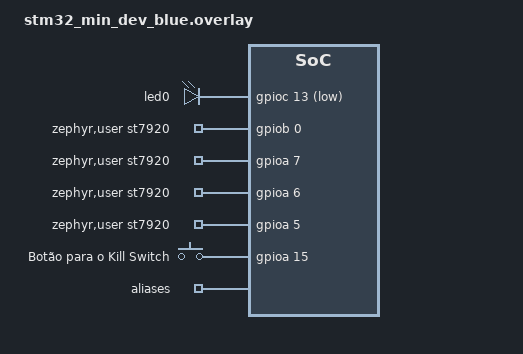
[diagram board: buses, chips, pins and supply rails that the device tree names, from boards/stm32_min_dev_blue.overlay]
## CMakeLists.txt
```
cmake_minimum_required(VERSION 3.22)

set(BOARD stm32_min_dev)

find_package(Zephyr REQUIRED HINTS $ENV{ZEPHYR_BASE})
project(palca-painel)

FILE(GLOB app_sources src/*.c)
target_sources(app PRIVATE ${app_sources})

target_include_directories(app PRIVATE inc)
```

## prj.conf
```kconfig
# Comunicação

## UART
CONFIG_SERIAL=y # Receber dados do GPS e enviar pro GPRS
CONFIG_UART_ASYNC_API=n # Receber dados de forma assícrona usando Direct Memory Access (DMA)

## CAN
CONFIG_CAN=y
CONFIG_CAN_DEFAULT_BITRATE=125000

# GPIO
CONFIG_GPIO=y # Ativar o controle dos pinos input e output

# Logging
CONFIG_LOG=y # Log de debug (UART 1)

# 3: info, 0: nada
CONFIG_LOG_DEFAULT_LEVEL=3 
```

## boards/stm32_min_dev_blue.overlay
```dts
/ {
    leds {
        compatible = "gpio-leds";
        led0: led {
            gpios = <&gpioc 13 GPIO_ACTIVE_LOW>;
        };
    };
    zephyr,user {
        st7920_gpios = <&gpiob 0 GPIO_ACTIVE_HIGH>, // Não pode mudar
                <&gpioa 7 GPIO_ACTIVE_HIGH>, // Não pode mudar
                <&gpioa 6 GPIO_ACTIVE_HIGH>, // Não pode mudar
                <&gpioa 5 GPIO_ACTIVE_HIGH>; // Não pode mudar

    };

     buttons {
             compatible = "gpio-keys";
             kill: button_0 {
                     gpios = < &gpioa 15 GPIO_ACTIVE_HIGH >;
                     label = "Botão para o Kill Switch";
             };

    aliases {
      mycan = &can1;
      botaokill = &kill
    };
};

&can1 {
    status = "okay";
    pinctrl-0 = <&can_rx_remap1_pb8 &can_tx_remap1_pb9>;
    pinctrl-names= "default";
};
```

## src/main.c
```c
// Esse programa de expemplo printa "Hello World!" no LOG no momento em que o
// led pisca

#include "ST7920.h"
#include "numbers.h"
#include "zephyr/logging/log.h"
#include <bitmap.h>
#include <can.h>
#include <globals.h>
#include <zephyr/kernel.h>

static const struct gpio_dt_spec kill_botao =
    GPIO_DT_SPEC_GET_OR(botaokill, gpios, {0});

// Porcentagem Bateria
float bateria = 20;

// Porcentagem Combustível
float combustivel = 40;

// Porcentagem Pneu Dianteiro Direito
float pneu_dd = 50;

// Porcentagem Pneu Dianteiro Esquerdo
float pneu_de = 100;

// Porcentagem Pneu Traseiro Direito
float pneu_td = 50;

// Porcentagem Pneu Traseiro Esquerdo
float pneu_te = 100;

// Porcentagem sinal
float sinal = 70;

// Velocidade em m/s
int velocidade = 10;

LOG_MODULE_REGISTER();

void draw_main();
void draw_main_devagar();
void draw_velocidade(uint8_t velocidade);

int main() {
  // Inicializações
  ST7920_Init();

  // Mostrar logo
  ST7920_GraphicMode(1);
  ST7920_DrawBitmap((const unsigned char *)jupiter_logo);
  ST7920_GraphicMode(0);
  k_msleep(1000);

  draw_main();

  bool kill = 0;

  while (true) {
    k_msleep(700);
    velocidade += 1;
    draw_main();

    int val = gpio_pin_get_dt(&kill_botao);
    if (val >= 0) {
      kill = true;
    }

    send_kill_switch(0, kill);

  }
}

void draw_main() {
  ST7920_GraphicMode(1);
  ST7920_DrawBitmap((const unsigned char *)interface);

  // Desenhar Bateria
  int altura_bateria = (bateria * 57) / 100;
  DrawFilledRectangle(2, 3 + (57 - altura_bateria), 12, altura_bateria);

  // Desenhar Combustível
  int altura_combustivel = (combustivel * 57) / 100;
  DrawFilledRectangle(19, 3 + (57 - altura_combustivel), 12,
                      altura_combustivel);

  // Desenhar rodas
  int altura_de = (pneu_de * 6) / 100;
  DrawFilledRectangle(101, 7 + (6 - altura_de), 1, altura_de);

  int altura_dd = (pneu_dd * 6) / 100;
  DrawFilledRectangle(121, 7 + (6 - altura_dd), 1, altura_dd);

  int altura_te = (pneu_te * 6) / 100;
  DrawFilledRectangle(101, 31 + (6 - altura_te), 1, altura_te);

  int altura_td = (pneu_td * 6) / 100;
  DrawFilledRectangle(121, 31 + (6 - altura_td), 1, altura_td);

  // Desenhar Sinal
  if (sinal > 33) {
    DrawFilledRectangle(102, 50, 2, 8);
  }
  if (sinal > 66) {
    DrawFilledRectangle(108, 46, 2, 12);
  }
  if (sinal > 90) {
    DrawFilledRectangle(114, 42, 2, 16);
  }

  draw_velocidade(velocidade);
  ST7920_Update();
}

// Desenha a velocideade (Precisa dar Update!!)
void draw_velocidade(uint8_t velocidade) {

  int unidade = velocidade % 10;
  int dezena = (velocidade % 100) / 10;

  switch (unidade) {
  case 0:
    numero_0(65);
    break;
  case 1:
    numero_1(65);
    break;
  case 2:
    numero_2(65);
    break;
  case 3:
    numero_3(65);
    break;
  case 4:
    numero_4(65);
    break;
  case 5:
    numero_5(65);
    break;
  case 6:
    numero_6(65);
    break;
  case 7:
    numero_7(65);
    break;
  case 8:
    numero_8(65);
    break;
  case 9:
    numero_9(65);
    break;

  default:
    ST7920_Clear();
    break;
  }

  switch (dezena) {
  case 0:
    numero_0(35);
    break;
  case 1:
    numero_1(35);
    break;
  case 2:
    numero_2(35);
    break;
  case 3:
    numero_3(35);
    break;
  case 4:
    numero_4(35);
    break;
  case 5:
    numero_5(35);
    break;
  case 6:
    numero_6(35);
    break;
  case 7:
    numero_7(35);
    break;
  case 8:
    numero_8(35);
    break;
  case 9:
    numero_9(35);
    break;
  default:
    ST7920_Clear();
    break;
  }
}
```

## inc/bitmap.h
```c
#ifndef BITMAP_H_
#define BITMAP_H_

volatile const unsigned char jupiter_logo[] = {
    // 'Ouroboros bitmap', 128x64px
    0x00, 0x00, 0x00, 0x00, 0x00, 0x00, 0x00, 0x00, 0x00, 0x00, 0x00, 0x00,
    0x00, 0x00, 0x00, 0x00, 0x00, 0x00, 0x00, 0x00, 0x00, 0x00, 0x00, 0x00,
    0x00, 0x00, 0x00, 0x00, 0x00, 0x00, 0x00, 0x00, 0x00, 0x00, 0x00, 0x00,
    0x00, 0x00, 0x00, 0x00, 0x00, 0x00, 0x00, 0x00, 0x00, 0x00, 0x00, 0x00,
    0x00, 0x00, 0x00, 0x00, 0x00, 0x00, 0x00, 0x00, 0x00, 0x00, 0x00, 0x00,
    0x00, 0x00, 0x00, 0x00, 0x00, 0x00, 0x00, 0x00, 0x00, 0x00, 0x00, 0x00,
    0x00, 0x00, 0x00, 0x00, 0x00, 0x00, 0x00, 0x00, 0x00, 0x00, 0x00, 0x00,
    0x00, 0x00, 0x00, 0x00, 0x00, 0x00, 0x00, 0x00, 0x00, 0x00, 0x00, 0x00,
    0x00, 0x00, 0x00, 0x00, 0x00, 0x00, 0x00, 0x00, 0x00, 0x00, 0x00, 0x00,
    0x00, 0x00, 0x00, 0x00, 0x00, 0x00, 0x00, 0x00, 0x00, 0x00, 0x00, 0x00,
    0x00, 0x00, 0x00, 0x00, 0x00, 0x00, 0x00, 0x00, 0x00, 0x00, 0x00, 0x00,
    0x00, 0x00, 0x00, 0x00, 0x00, 0x00, 0x00, 0x00, 0x00, 0x00, 0x00, 0x00,
    0x00, 0x00, 0x00, 0x00, 0x00, 0x00, 0x00, 0x00, 0x00, 0x00, 0x00, 0x00,
    0x00, 0x00, 0x00, 0x00, 0x00, 0x00, 0x00, 0x00, 0x00, 0x00, 0x06, 0x30,
    0x00, 0x00, 0x00, 0x00, 0x00, 0x00, 0x00, 0x00, 0x00, 0x00, 0x00, 0x00,
    0x00, 0x00, 0x02, 0x3c, 0x00, 0x78, 0x00, 0x00, 0x00, 0x00, 0x00, 0x00,
    0x00, 0x00, 0x00, 0x00, 0x00, 0x00, 0x02, 0x36, 0xff, 0xff, 0x80, 0x00,
    0x00, 0x00, 0x00, 0x00, 0x00, 0x00, 0x00, 0x00, 0x00, 0x00, 0x02, 0x23,
    0xff, 0xff, 0x00, 0x00, 0x00, 0x00, 0x00, 0x00, 0x00, 0x00, 0x00, 0x00,
    0x00, 0x30, 0x03, 0x63, 0xff, 0xf8, 0x00, 0x00, 0x00, 0x00, 0x00, 0x00,
    0x00, 0x00, 0x00, 0x00, 0x00, 0x7f, 0x03, 0x63, 0xff, 0xf1, 0x80, 0x00,
    0x00, 0x00, 0x00, 0x00, 0x00, 0x00, 0x00, 0x00, 0x00, 0x7f, 0xe3, 0xe3,
    0x17, 0xed, 0xc0, 0x00, 0x00, 0x00, 0x00, 0x00, 0x00, 0x00, 0x00, 0x00,
    0x00, 0x61, 0xe1, 0xe3, 0xf0, 0xdd, 0xd0, 0x00, 0x00, 0x00, 0x00, 0x00,
    0x00, 0x00, 0x00, 0x00, 0x00, 0x60, 0x60, 0x03, 0xff, 0x1d, 0xd8, 0x00,
    0x00, 0x00, 0x00, 0x00, 0x00, 0x00, 0x00, 0x00, 0x00, 0x60, 0x63, 0x00,
    0xff, 0xcf, 0xbc, 0x00, 0x00, 0x00, 0x00, 0x00, 0x00, 0x00, 0x00, 0x00,
    0x00, 0x70, 0x63, 0xfc, 0xff, 0xf7, 0x7e, 0x00, 0x00, 0x00, 0x00, 0x00,
    0x00, 0x00, 0x00, 0x00, 0x00, 0x7f, 0x62, 0xfe, 0xff, 0xf8, 0xfe, 0x00,
    0x00, 0x00, 0x00, 0x00, 0x00, 0x00, 0x00, 0x00, 0x00, 0x3f, 0xe3, 0x07,
    0xf7, 0xff, 0xfe, 0x00, 0x00, 0x00, 0x00, 0x00, 0x00, 0x00, 0x00, 0x00,
    0x00, 0x01, 0xe3, 0x07, 0xff, 0xff, 0xfe, 0x00, 0x00, 0x00, 0x00, 0x00,
    0x00, 0x00, 0x00, 0x00, 0x00, 0x78, 0x03, 0x07, 0xff, 0xff, 0xfe, 0x00,
    0x00, 0x00, 0x00, 0x00, 0x00, 0x00, 0x00, 0x00, 0x00, 0x7f, 0xc3, 0x87,
    0x1f, 0xff, 0xfe, 0x00, 0x00, 0x00, 0x00, 0x00, 0x00, 0x00, 0x00, 0x00,
    0x00, 0x7f, 0xe3, 0xff, 0x06, 0xff, 0xfc, 0x00, 0x00, 0x00, 0x00, 0x00,
    0x00, 0x00, 0x00, 0x00, 0x00, 0x63, 0xe0, 0xff, 0x00, 0xfd, 0xf0, 0x00,
    0x00, 0x00, 0x00, 0x00, 0x00, 0x00, 0x00, 0x00, 0x00, 0x62, 0x00, 0x06,
    0x00, 0xf9, 0xe0, 0x00, 0x00, 0x00, 0x00, 0x00, 0x00, 0x00, 0x00, 0x00,
    0x00, 0x62, 0x03, 0xc0, 0x00, 0xf8, 0x00, 0x00, 0x00, 0x00, 0x00, 0x00,
    0x00, 0x00, 0x00, 0x00, 0x00, 0x6e, 0x07, 0xfe, 0x00, 0xf8, 0x00, 0x00,
    0x00, 0x00, 0x00, 0x00, 0x00, 0x00, 0x00, 0x00, 0x00, 0x6f, 0xc3, 0x7f,
    0x00, 0xf8, 0x00, 0x00, 0x00, 0x00, 0x00, 0x00, 0x00, 0x00, 0x00, 0x00,
    0x00, 0x0f, 0xe7, 0x32, 0x00, 0xf8, 0x00, 0x00, 0x00, 0x00, 0x00, 0x00,
    0x00, 0x00, 0x00, 0x00, 0x00, 0x40, 0x63, 0x30, 0x00, 0xf0, 0x00, 0x00,
    0x00, 0x00, 0x00, 0x00, 0x00, 0x00, 0x00, 0x00, 0x00, 0x7c, 0x03, 0x30,
    0x00, 0xf0, 0x00, 0x00, 0x00, 0x00, 0x00, 0x00, 0x00, 0x00, 0x00, 0x00,
    0x00, 0x7f, 0xc3, 0xf0, 0x00, 0xd0, 0x40, 0x00, 0x00, 0x00, 0x00, 0x00,
    0x00, 0x00, 0x00, 0x00, 0x00, 0x0f, 0xe3, 0xfe, 0x00, 0xe0, 0xc0, 0x00,
    0x00, 0x00, 0x00, 0x00, 0x00, 0x00, 0x00, 0x00, 0x00, 0x00, 0x60, 0x3f,
    0x00, 0xc2, 0xc0, 0x00, 0x00, 0x00, 0x00, 0x00, 0x00, 0x00, 0x00, 0x00,
    0x00, 0x00, 0x63, 0x00, 0x00, 0x81, 0x80, 0x00, 0x00, 0x00, 0x00, 0x00,
    0x00, 0x00, 0x00, 0x00, 0x00, 0x20, 0x63, 0xf0, 0x01, 0x87, 0x80, 0x00,
    0x00, 0x00, 0x00, 0x00, 0x00, 0x00, 0x00, 0x00, 0x00, 0x7c, 0x63, 0xfe,
    0x01, 0x0b, 0x80, 0x00, 0x00, 0x00, 0x00, 0x00, 0x00, 0x00, 0x00, 0x00,
    0x00, 0x7f, 0xe3, 0x1e, 0x00, 0x0b, 0x80, 0x00, 0x00, 0x00, 0x00, 0x00,
    0x00, 0x00, 0x00, 0x00, 0x00, 0x17, 0xe7, 0x07, 0x00, 0x17, 0x80, 0x00,
    0x00, 0x00, 0x00, 0x00, 0x00, 0x00, 0x00, 0x00, 0x00, 0x20, 0x07, 0x07,
    0x00, 0x17, 0x00, 0x00, 0x00, 0x00, 0x00, 0x00, 0x00, 0x00, 0x00, 0x00,
    0x00, 0x7e, 0x03, 0x07, 0x00, 0x16, 0x00, 0x00, 0x00, 0x00, 0x00, 0x00,
    0x00, 0x00, 0x00, 0x00, 0x00, 0x7f, 0xc3, 0xf7, 0x00, 0x2e, 0x00, 0x00,
    0x00, 0x00, 0x00, 0x00, 0x00, 0x00, 0x00, 0x00, 0x00, 0x67, 0x61, 0xff,
    0x02, 0x2c, 0x00, 0x00, 0x00, 0x00, 0x00, 0x00, 0x00, 0x00, 0x00, 0x00,
    0x00, 0x60, 0x60, 0x1e, 0x03, 0x68, 0x00, 0x00, 0x00, 0x00, 0x00, 0x00,
    0x00, 0x00, 0x00, 0x00, 0x00, 0x60, 0x63, 0x00, 0x03, 0x48, 0x00, 0x00,
    0x00, 0x00, 0x00, 0x00, 0x00, 0x00, 0x00, 0x00, 0x00, 0x60, 0x63, 0xf8,
    0x03, 0xc0, 0x00, 0x00, 0x00, 0x00, 0x00, 0x00, 0x00, 0x00, 0x00, 0x00,
    0x00, 0x5e, 0x63, 0xfe, 0x03, 0x80, 0x00, 0x00, 0x00, 0x00, 0x00, 0x00,
    0x00, 0x00, 0x00, 0x00, 0x00, 0x3f, 0xe3, 0x3e, 0x03, 0x80, 0x00, 0x00,
    0x00, 0x00, 0x00, 0x00, 0x00, 0x00, 0x00, 0x00, 0x00, 0x06, 0x63, 0x27,
    0x0f, 0x80, 0x00, 0x00, 0x00, 0x00, 0x00, 0x00, 0x00, 0x00, 0x00, 0x00,
    0x00, 0x00, 0x03, 0x27, 0x7f, 0x00, 0x00, 0x00, 0x00, 0x00, 0x00, 0x00,
    0x00, 0x00, 0x00, 0x00, 0x00, 0x00, 0x03, 0x67, 0xff, 0x00, 0x00, 0x00,
    0x00, 0x00, 0x00, 0x00, 0x00, 0x00, 0x00, 0x00, 0x00, 0x00, 0x03, 0xff,
    0xfc, 0x00, 0x00, 0x00, 0x00, 0x00, 0x00, 0x00, 0x00, 0x00, 0x00, 0x00,
    0x00, 0x00, 0x00, 0xff, 0xf0, 0x00, 0x00, 0x00, 0x00, 0x00, 0x00, 0x00,
    0x00, 0x00, 0x00, 0x00, 0x00, 0x00, 0x00, 0x07, 0x40, 0x00, 0x00, 0x00,
    0x00, 0x00, 0x00, 0x00, 0x00, 0x00, 0x00, 0x00, 0x00, 0x00, 0x00, 0x00,
    0x00, 0x00, 0x00, 0x00, 0x00, 0x00, 0x00, 0x00, 0x00, 0x00, 0x00, 0x00,
    0x00, 0x00, 0x00, 0x00, 0x00, 0x00, 0x00, 0x00, 0x00, 0x00, 0x00, 0x00,
    0x00, 0x00, 0x00, 0x00, 0x00, 0x00, 0x00, 0x00, 0x00, 0x00, 0x00, 0x00,
    0x00, 0x00, 0x00, 0x00, 0x00, 0x00, 0x00, 0x00, 0x00, 0x00, 0x00, 0x00,
    0x00, 0x00, 0x00, 0x00, 0x00, 0x00, 0x00, 0x00, 0x00, 0x00, 0x00, 0x00,
    0x00, 0x00, 0x00, 0x00, 0x00, 0x00, 0x00, 0x00, 0x00, 0x00, 0x00, 0x00,
    0x00, 0x00, 0x00, 0x00, 0x00, 0x00, 0x00, 0x00, 0x00, 0x00, 0x00, 0x00,
    0x00, 0x00, 0x00, 0x00};

volatile const unsigned char teste_1[] = {
    0x00, 0x00, 0x00, 0x00, 0x00, 0x00, 0x00, 0x00, 0x00, 0x00, 0x00, 0x00,
    0x00, 0x00, 0x00, 0x00, 0x00, 0x00, 0x00, 0x00, 0x00, 0x00, 0x00, 0x00,
    0x00, 0x00, 0x00, 0x00, 0x00, 0x00, 0x00, 0x00, 0x00, 0x00, 0x00, 0x00,
    0x00, 0x00, 0x00, 0x00, 0x00, 0x00, 0x00, 0x00, 0x00, 0x00, 0x00, 0x00,
    0x00, 0x00, 0x00, 0x00, 0x00, 0x00, 0x00, 0x00, 0x00, 0x00, 0x00, 0x00,
    0x00, 0x00, 0x00, 0x00, 0x00, 0x00, 0x00, 0x00, 0x00, 0x00, 0x00, 0x00,
    0x00, 0x00, 0x00, 0x00, 0x00, 0x00, 0x00, 0x00, 0x00, 0x00, 0x00, 0x00,
    0x00, 0x00, 0x00, 0x00, 0x00, 0x00, 0x00, 0x00, 0x00, 0x00, 0x00, 0x00,
    0x00, 0x00, 0x00, 0x00, 0x00, 0x00, 0x00, 0x00, 0x00, 0x00, 0x00, 0x00,
    0x00, 0x00, 0x00, 0x00, 0x00, 0x00, 0x00, 0x00, 0x00, 0x00, 0x00, 0x00,
    0x00, 0x00, 0x00, 0x00, 0x00, 0x00, 0x00, 0x00, 0x00, 0x00, 0x00, 0x00,
    0x00, 0x00, 0x00, 0x00, 0x00, 0x00, 0x00, 0x00, 0x00, 0x00, 0x00, 0x00,
    0x00, 0x00, 0x00, 0x00, 0x00, 0x00, 0x00, 0x00, 0x00, 0x00, 0x00, 0x00,
    0x00, 0x00, 0x00, 0x00, 0x00, 0x00, 0x00, 0x00, 0x00, 0x00, 0x00, 0x00,
    0x00, 0x00, 0x00, 0x00, 0x00, 0x00, 0x00, 0x00, 0x00, 0x00, 0x00, 0x00,
    0x00, 0x00, 0x00, 0x00, 0x00, 0x00, 0x00, 0x00, 0x00, 0x00, 0x00, 0x00,
    0x00, 0x00, 0x00, 0x00, 0x00, 0x00, 0x00, 0x00, 0x00, 0x00, 0x00, 0x00,
    0x00, 0x00, 0x00, 0x00, 0x00, 0x00, 0x00, 0x00, 0x00, 0x00, 0x00, 0x00,
    0x00, 0x00, 0x00, 0x00, 0x00, 0x00, 0x00, 0x00, 0x00, 0x10, 0x00, 0x00,
    0x00, 0x00, 0x00, 0x00, 0x00, 0x00, 0x00, 0x00, 0x00, 0x00, 0x00, 0x00,
    0x00, 0x08, 0x00, 0x00, 0x00, 0x00, 0x00, 0x00, 0x00, 0x00, 0x00, 0x00,
    0x00, 0x00, 0x00, 0x00, 0x00, 0x08, 0x00, 0x00, 0x00, 0x00, 0x00, 0x00,
    0x00, 0x00, 0x00, 0x00, 0x00, 0x00, 0x00, 0x00, 0x00, 0x08, 0x00, 0x00,
    0x00, 0x00, 0x00, 0x00, 0x00, 0x00, 0x00, 0x00, 0x00, 0x00, 0x00, 0x00,
    0x00, 0x08, 0x00, 0x00, 0x00, 0x00, 0x00, 0x00, 0x00, 0x00, 0x00, 0x00,
    0x00, 0x00, 0x00, 0x00, 0x00, 0x08, 0x00, 0x00, 0x00, 0x00, 0x00, 0x00,
    0x00, 0x00, 0x00, 0x00, 0x00, 0x00, 0x00, 0x00, 0x00, 0x08, 0x00, 0x00,
    0x00, 0x00, 0x00, 0x00, 0x00, 0x00, 0x00, 0x00, 0x00, 0x00, 0x00, 0x00,
    0x00, 0x08, 0x00, 0x00, 0x00, 0x00, 0x00, 0x00, 0x00, 0x00, 0x00, 0x00,
    0x00, 0x00, 0x00, 0x00, 0x00, 0x08, 0x00, 0x00, 0x00, 0x00, 0x00, 0x00,
    0x00, 0x00, 0x00, 0x00, 0x00, 0x00, 0x00, 0x00, 0x00, 0x08, 0x00, 0x00,
    0x00, 0x00, 0x00, 0x00, 0x00, 0x00, 0x00, 0x00, 0x00, 0x00, 0x00, 0x00,
    0x00, 0x08, 0x00, 0x00, 0x00, 0x00, 0x00, 0x00, 0x00, 0x00, 0x00, 0x00,
    0x00, 0x00, 0x00, 0x00, 0x00, 0x08, 0x00, 0x00, 0x00, 0x00, 0x00, 0x00,
    0x00, 0x00, 0x00, 0x00, 0x00, 0x00, 0x00, 0x00, 0x00, 0x04, 0x00, 0x00,
    0x00, 0x00, 0x00, 0x00, 0x00, 0x00, 0x00, 0x00, 0x00, 0x00, 0x00, 0x00,
    0x00, 0x04, 0x00, 0x00, 0x00, 0x00, 0x00, 0x00, 0x00, 0x00, 0x00, 0x00,
    0x00, 0x00, 0x00, 0x00, 0x00, 0x04, 0x00, 0x00, 0x00, 0x00, 0x00, 0x00,
    0x00, 0x00, 0x00, 0x00, 0x00, 0x00, 0x00, 0x00, 0x00, 0x04, 0x00, 0x00,
    0x00, 0x00, 0x00, 0x00, 0x00, 0x00, 0x00, 0x00, 0x00, 0x00, 0x00, 0x00,
    0x00, 0x04, 0x00, 0x00, 0x00, 0x00, 0x00, 0x00, 0x00, 0x00, 0x00, 0x00,
    0x00, 0x00, 0x00, 0x00, 0x00, 0x04, 0x00, 0x00, 0x00, 0x00, 0x00, 0x00,
    0x00, 0x00, 0x00, 0x00, 0x00, 0x00, 0x00, 0x00, 0x00, 0x02, 0x00, 0x00,
    0x00, 0x00, 0x00, 0x00, 0x00, 0x00, 0x00, 0x00, 0x00, 0x00, 0x00, 0x00,
    0x00, 0x02, 0x00, 0x00, 0x00, 0x00, 0x00, 0x00, 0x00, 0x00, 0x00, 0x00,
    0x00, 0x00, 0x00, 0x00, 0x00, 0x02, 0x00, 0x00, 0x00, 0x00, 0x00, 0x00,
    0x00, 0x00, 0x00, 0x00, 0x00, 0x00, 0x00, 0x00, 0x00, 0x01, 0x00, 0x00,
    0x00, 0x00, 0x00, 0x00, 0x00, 0x00, 0x00, 0x00, 0x00, 0x00, 0x00, 0x00,
    0x00, 0x00, 0x80, 0x00, 0x00, 0x00, 0x00, 0x00, 0x00, 0x00, 0x00, 0x00,
    0x00, 0x00, 0x00, 0x00, 0x00, 0x00, 0x80, 0x00, 0x00, 0x00, 0x00, 0x00,
    0x00, 0x00, 0x00, 0x00, 0x00, 0x00, 0x00, 0x00, 0x00, 0x00, 0x40, 0x00,
    0x00, 0x00, 0x00, 0x00, 0x00, 0x00, 0x00, 0x00, 0x00, 0x00, 0x00, 0x00,
    0x00, 0x00, 0x30, 0x00, 0x00, 0x00, 0x00, 0x00, 0x00, 0x00, 0x00, 0x00,
    0x00, 0x00, 0x00, 0x00, 0x00, 0x00, 0x0c, 0x00, 0x00, 0x00, 0x00, 0x00,
    0x00, 0x00, 0x00, 0x00, 0x00, 0x00, 0x00, 0x00, 0x00, 0x00, 0x02, 0x00,
    0x00, 0x00, 0x00, 0x00, 0x40, 0x00, 0x00, 0x00, 0x00, 0x00, 0x00, 0x00,
    0x00, 0x00, 0x01, 0x80, 0x00, 0x00, 0x00, 0x00, 0x80, 0x00, 0x00, 0x00,
    0x00, 0x00, 0x00, 0x00, 0x00, 0x00, 0x00, 0x60, 0x00, 0x00, 0x00, 0x03,
    0x00, 0x00, 0x00, 0x00, 0x00, 0x00, 0x00, 0x00, 0x00, 0x00, 0x00, 0x1c,
    0x00, 0x00, 0x00, 0x1c, 0x00, 0x00, 0x00, 0x00, 0x00, 0x00, 0x00, 0x00,
    0x00, 0x00, 0x00, 0x03, 0x00, 0x00, 0x00, 0x60, 0x00, 0x00, 0x00, 0x00,
    0x00, 0x00, 0x00, 0x00, 0x00, 0x00, 0x00, 0x00, 0xfc, 0x00, 0x07, 0x80,
    0x00, 0x00, 0x00, 0x00, 0x00, 0x00, 0x00, 0x00, 0x00, 0x00, 0x00, 0x00,
    0x03, 0xe0, 0x18, 0x00, 0x00, 0x00, 0x00, 0x00, 0x00, 0x00, 0x00, 0x00,
    0x00, 0x00, 0x00, 0x00, 0x00, 0x1f, 0xe0, 0x00, 0x00, 0x00, 0x00, 0x00,
    0x00, 0x00, 0x00, 0x00, 0x00, 0x00, 0x00, 0x00, 0x00, 0x00, 0x00, 0x00,
    0x00, 0x00, 0x00, 0x00, 0x00, 0x00, 0x00, 0x00, 0x00, 0x00, 0x00, 0x00,
    0x00, 0x00, 0x00, 0x00, 0x00, 0x00, 0x00, 0x00, 0x00, 0x00, 0x00, 0x00,
    0x00, 0x00, 0x00, 0x00, 0x00, 0x00, 0x00, 0x00, 0x00, 0x00, 0x00, 0x00,
    0x00, 0x00, 0x00, 0x00, 0x00, 0x00, 0x00, 0x00, 0x00, 0x00, 0x00, 0x00,
    0x00, 0x00, 0x00, 0x00, 0x00, 0x00, 0x00, 0x00, 0x00, 0x00, 0x00, 0x00,
    0x00, 0x00, 0x00, 0x00, 0x00, 0x00, 0x00, 0x00, 0x00, 0x00, 0x00, 0x00,
    0x00, 0x00, 0x00, 0x00, 0x00, 0x00, 0x00, 0x00, 0x00, 0x00, 0x00, 0x00,
    0x00, 0x00, 0x00, 0x00, 0x00, 0x00, 0x00, 0x00, 0x00, 0x00, 0x00, 0x00,
    0x00, 0x00, 0x00, 0x00, 0x00, 0x00, 0x00, 0x00, 0x00, 0x00, 0x00, 0x00,
    0x00, 0x00, 0x00, 0x00, 0x00, 0x00, 0x00, 0x00, 0x00, 0x00, 0x00, 0x00,
    0x00, 0x00, 0x00, 0x00, 0x00, 0x00, 0x00, 0x00, 0x00, 0x00, 0x00, 0x00,
    0x00, 0x00, 0x00, 0x00, 0x00, 0x00, 0x00, 0x00, 0x00, 0x00, 0x00, 0x00,
    0x00, 0x00, 0x00, 0x00, 0x00, 0x00, 0x00, 0x00, 0x00, 0x00, 0x00, 0x00,
    0x00, 0x00, 0x00, 0x00, 0x00, 0x00, 0x00, 0x00, 0x00, 0x00, 0x00, 0x00,
    0x00, 0x00, 0x00, 0x00, 0x00, 0x00, 0x00, 0x00, 0x00, 0x00, 0x00, 0x00,
    0x00, 0x00, 0x00, 0x00, 0x00, 0x00, 0x00, 0x00, 0x00, 0x00, 0x00, 0x00,
    0x00, 0x00, 0x00, 0x00, 0x00, 0x00, 0x00, 0x00, 0x00, 0x00, 0x00, 0x00,
    0x00, 0x00, 0x00, 0x00, 0x00, 0x00, 0x00, 0x00, 0x00, 0x00, 0x00, 0x00,
    0x00, 0x00, 0x00, 0x00, 0x00, 0x00, 0x00, 0x00, 0x00, 0x00, 0x00, 0x00,
    0x00, 0x00, 0x00, 0x00};

volatile const unsigned char interface[] = {
    // 'Interface Painel', 128x64px
    0x00, 0x00, 0x00, 0x00, 0x00, 0x00, 0x00, 0x00, 0x00, 0x00, 0x00, 0x00,
    0x00, 0x00, 0x00, 0x00, 0x00, 0x00, 0x00, 0x00, 0x00, 0x00, 0x00, 0x00,
    0x00, 0x00, 0x00, 0x00, 0x00, 0x00, 0x00, 0x00, 0x3f, 0xff, 0x3f, 0xff,
    0x00, 0x00, 0x00, 0x00, 0x00, 0x00, 0x00, 0x00, 0x00, 0x00, 0x00, 0x00,
    0x20, 0x01, 0x20, 0x01, 0x00, 0x00, 0x00, 0x00, 0x00, 0x00, 0x00, 0x00,
    0x00, 0x00, 0x00, 0x00, 0x20, 0x01, 0x20, 0x01, 0x00, 0x00, 0x00, 0x00,
    0x00, 0x00, 0x00, 0x00, 0x00, 0x00, 0x00, 0x00, 0x20, 0x01, 0x20, 0x01,
    0x00, 0x00, 0x00, 0x00, 0x00, 0x00, 0x00, 0x00, 0x00, 0x00, 0x00, 0x00,
    0x20, 0x01, 0x20, 0x01, 0x00, 0x00, 0x00, 0x00, 0x00, 0x00, 0x00, 0x00,
    0x0f, 0x00, 0x00, 0xf0, 0x20, 0x01, 0x20, 0x01, 0x00, 0x00, 0x00, 0x00,
    0x00, 0x00, 0x00, 0x00, 0x09, 0x00, 0x00, 0x90, 0x20, 0x01, 0x20, 0x01,
    0x00, 0x00, 0x00, 0x00, 0x00, 0x00, 0x00, 0x00, 0x09, 0xc0, 0x03, 0x90,
    0x20, 0x01, 0x20, 0x01, 0x00, 0x00, 0x00, 0x00, 0x00, 0x00, 0x00, 0x00,
    0x09, 0xef, 0xf7, 0x90, 0x20, 0x01, 0x20, 0x01, 0x00, 0x00, 0x00, 0x00,
    0x00, 0x00, 0x00, 0x00, 0x09, 0x78, 0x1e, 0x90, 0x20, 0x01, 0x20, 0x01,
    0x00, 0x00, 0x00, 0x00, 0x00, 0x00, 0x00, 0x00, 0x09, 0x28, 0x14, 0x90,
    0x20, 0x01, 0x20, 0x01, 0x00, 0x00, 0x00, 0x00, 0x00, 0x00, 0x00, 0x00,
    0x09, 0x58, 0x1a, 0x90, 0x20, 0x01, 0x20, 0x01, 0x00, 0x00, 0x00, 0x00,
    0x00, 0x00, 0x00, 0x00, 0x0f, 0x5f, 0xfa, 0xf0, 0x20, 0x01, 0x20, 0x01,
    0x00, 0x00, 0x00, 0x00, 0x00, 0x00, 0x00, 0x00, 0x00, 0x5c, 0x1a, 0x00,
    0x20, 0x01, 0x20, 0x01, 0x00, 0x00, 0x00, 0x00, 0x00, 0x00, 0x00, 0x00,
    0x00, 0x5c, 0x1a, 0x00, 0x20, 0x01, 0x20, 0x01, 0x00, 0x00, 0x00, 0x00,
    0x00, 0x00, 0x00, 0x00, 0x00, 0x5a, 0x1a, 0x00, 0x20, 0x01, 0x20, 0x01,
    0x00, 0x00, 0x00, 0x00, 0x00, 0x00, 0x00, 0x00, 0x00, 0x5a, 0x1a, 0x00,
    0x20, 0x01, 0x20, 0x01, 0x00, 0x00, 0x00, 0x00, 0x00, 0x00, 0x00, 0x00,
    0x00, 0x59, 0x1a, 0x00, 0x20, 0x01, 0x20, 0x01, 0x00, 0x00, 0x00, 0x00,
    0x00, 0x00, 0x00, 0x00, 0x00, 0x59, 0x1a, 0x00, 0x20, 0x01, 0x20, 0x01,
    0x00, 0x00, 0x00, 0x00, 0x00, 0x00, 0x00, 0x00, 0x00, 0x58, 0x9a, 0x00,
    0x20, 0x01, 0x20, 0x01, 0x00, 0x00, 0x00, 0x00, 0x00, 0x00, 0x00, 0x00,
    0x00, 0x58, 0x9a, 0x00, 0x20, 0x01, 0x20, 0x01, 0x00, 0x00, 0x00, 0x00,
    0x00, 0x00, 0x00, 0x00, 0x00, 0x58, 0x5a, 0x00, 0x20, 0x01, 0x20, 0x01,
    0x00, 0x00, 0x00, 0x00, 0x00, 0x00, 0x00, 0x00, 0x00, 0x58, 0x5a, 0x00,
    0x20, 0x01, 0x20, 0x01, 0x00, 0x00, 0x00, 0x00, 0x00, 0x00, 0x00, 0x00,
    0x00, 0x58, 0x3a, 0x00, 0x20, 0x01, 0x20, 0x01, 0x00, 0x00, 0x00, 0x00,
    0x00, 0x00, 0x00, 0x00, 0x00, 0x58, 0x3a, 0x00, 0x20, 0x01, 0x20, 0x01,
    0x00, 0x00, 0x00, 0x00, 0x00, 0x00, 0x00, 0x00, 0x00, 0x7f, 0xfe, 0x00,
    0x20, 0x01, 0x20, 0x01, 0x00, 0x00, 0x00, 0x00, 0x00, 0x00, 0x00, 0x00,
    0x00, 0x48, 0x12, 0x00, 0x20, 0x01, 0x20, 0x01, 0x00, 0x00, 0x00, 0x00,
    0x00, 0x00, 0x00, 0x00, 0x00, 0x50, 0x0a, 0x00, 0x20, 0x01, 0x20, 0x01,
    0x00, 0x00, 0x00, 0x00, 0x00, 0x00, 0x00, 0x00, 0x00, 0x5f, 0xfa, 0x00,
    0x20, 0x01, 0x20, 0x01, 0x00, 0x00, 0x00, 0x00, 0x00, 0x00, 0x00, 0x00,
    0x0f, 0x60, 0x06, 0xf0, 0x20, 0x01, 0x20, 0x01, 0x00, 0x00, 0x00, 0x00,
    0x00, 0x00, 0x00, 0x00, 0x09, 0xff, 0xff, 0x90, 0x20, 0x01, 0x20, 0x01,
    0x00, 0x00, 0x00, 0x00, 0x00, 0x00, 0x00, 0x00, 0x09, 0xc0, 0x03, 0x90,
    0x20, 0x01, 0x20, 0x01, 0x00, 0x00, 0x00, 0x00, 0x00, 0x00, 0x00, 0x00,
    0x09, 0x00, 0x00, 0x90, 0x20, 0x01, 0x20, 0x01, 0x00, 0x00, 0x00, 0x00,
    0x00, 0x00, 0x00, 0x00, 0x09, 0x00, 0x00, 0x90, 0x20, 0x01, 0x20, 0x01,
    0x00, 0x00, 0x00, 0x00, 0x00, 0x00, 0x00, 0x00, 0x09, 0x00, 0x00, 0x90,
    0x20, 0x01, 0x20, 0x01, 0x00, 0x00, 0x00, 0x00, 0x00, 0x00, 0x00, 0x00,
    0x09, 0x00, 0x00, 0x90, 0x20, 0x01, 0x20, 0x01, 0x00, 0x00, 0x00, 0x00,
    0x00, 0x00, 0x00, 0x00, 0x0f, 0x00, 0x00, 0xf0, 0x20, 0x01, 0x20, 0x01,
    0x00, 0x00, 0x00, 0x00, 0x00, 0x00, 0x00, 0x00, 0x00, 0x00, 0x00, 0x00,
    0x20, 0x01, 0x20, 0x01, 0x00, 0x00, 0x00, 0x00, 0x00, 0x00, 0x00, 0x00,
    0x00, 0x00, 0x00, 0x00, 0x20, 0x01, 0x20, 0x01, 0x00, 0x00, 0x00, 0x00,
    0x00, 0x00, 0x00, 0x00, 0x00, 0x00, 0x00, 0x00, 0x20, 0x01, 0x20, 0x01,
    0x00, 0x00, 0x00, 0x00, 0x00, 0x00, 0x00, 0x00, 0x00, 0x00, 0x00, 0x00,
    0x20, 0x01, 0x20, 0x01, 0x00, 0x00, 0x00, 0x00, 0x00, 0x00, 0x00, 0x00,
    0x00, 0x00, 0x7c, 0x00, 0x20, 0x01, 0x20, 0x01, 0x00, 0x00, 0x00, 0x00,
    0x00, 0x00, 0x00, 0x00, 0x00, 0x00, 0x44, 0x00, 0x20, 0x01, 0x20, 0x01,
    0x00, 0x00, 0x00, 0x00, 0x00, 0x00, 0x00, 0x00, 0x00, 0x00, 0x44, 0x00,
    0x20, 0x01, 0x20, 0x01, 0x00, 0x00, 0x00, 0x00, 0x00, 0x00, 0x00, 0x00,
    0x00, 0x1f, 0x44, 0x00, 0x20, 0x01, 0x20, 0x01, 0x00, 0x00, 0x00, 0x00,
    0x00, 0x00, 0x00, 0x00, 0x00, 0x11, 0x44, 0x00, 0x20, 0x01, 0x20, 0x01,
    0x00, 0x00, 0x00, 0x00, 0x00, 0x00, 0x00, 0x00, 0x00, 0x11, 0x44, 0x00,
    0x20, 0x01, 0x20, 0x01, 0x00, 0x00, 0x00, 0x00, 0x00, 0x00, 0x00, 0x00,
    0x00, 0x11, 0x44, 0x00, 0x20, 0x01, 0x20, 0x01, 0x00, 0x00, 0x00, 0x00,
    0x00, 0x00, 0x00, 0x00, 0x07, 0xd1, 0x44, 0x00, 0x20, 0x01, 0x20, 0x01,
    0x00, 0x00, 0x00, 0x00, 0x00, 0x00, 0x00, 0x00, 0x04, 0x51, 0x44, 0x00,
    0x20, 0x01, 0x20, 0x01, 0x00, 0x00, 0x00, 0x00, 0x00, 0x00, 0x00, 0x00,
    0x04, 0x51, 0x44, 0x00, 0x20, 0x01, 0x20, 0x01, 0x00, 0x00, 0x00, 0x00,
    0x00, 0x00, 0x00, 0x00, 0x04, 0x51, 0x44, 0x00, 0x20, 0x01, 0x20, 0x01,
    0x00, 0x00, 0x00, 0x00, 0x00, 0x00, 0x00, 0x00, 0x04, 0x51, 0x44, 0x00,
    0x20, 0x01, 0x20, 0x01, 0x00, 0x00, 0x00, 0x00, 0x00, 0x00, 0x00, 0x00,
    0x04, 0x51, 0x44, 0x00, 0x20, 0x01, 0x20, 0x01, 0x00, 0x00, 0x00, 0x00,
    0x00, 0x00, 0x00, 0x00, 0x04, 0x51, 0x44, 0x00, 0x20, 0x01, 0x20, 0x01,
    0x00, 0x00, 0x00, 0x00, 0x00, 0x00, 0x00, 0x00, 0x04, 0x51, 0x44, 0x00,
    0x20, 0x01, 0x20, 0x01, 0x00, 0x00, 0x00, 0x00, 0x00, 0x00, 0x00, 0x00,
    0x04, 0x51, 0x44, 0x00, 0x20, 0x01, 0x20, 0x01, 0x00, 0x00, 0x00, 0x00,
    0x00, 0x00, 0x00, 0x00, 0x07, 0xdf, 0x7c, 0x00, 0x20, 0x01, 0x20, 0x01,
    0x00, 0x00, 0x00, 0x00, 0x00, 0x00, 0x00, 0x00, 0x00, 0x00, 0x00, 0x00,
    0x20, 0x01, 0x20, 0x01, 0x00, 0x00, 0x00, 0x00, 0x00, 0x00, 0x00, 0x00,
    0x00, 0x00, 0x00, 0x00, 0x3f, 0xff, 0x3f, 0xff, 0x00, 0x00, 0x00, 0x00,
    0x00, 0x00, 0x00, 0x00, 0x00, 0x00, 0x00, 0x00, 0x00, 0x00, 0x00, 0x00,
    0x00, 0x00, 0x00, 0x00, 0x00, 0x00, 0x00, 0x00, 0x00, 0x00, 0x00, 0x00,
    0x00, 0x00, 0x00, 0x00, 0x00, 0x00, 0x00, 0x00, 0x00, 0x00, 0x00, 0x00,
    0x00, 0x00, 0x00, 0x00};

#endif /* BITMAP_H_ */
```

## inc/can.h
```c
#include "zephyr/drivers/gpio.h"
#include <zephyr/device.h>
#include <zephyr/drivers/can.h>
#include <zephyr/kernel.h>
#include <zephyr/logging/log.h>

/*
 * É necessário rodar Init_CAN() e em um loop while rodar CAN_Tick()
 */

int Init_CAN();

// Essa função deve ser chamada em algum while loop
int CAN_Tick();

int send_kill_switch(bool piloto, bool kill);
```

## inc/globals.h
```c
#ifndef GLOBALS_H
#define GLOBALS_H

// Porcentagem Bateria
extern float bateria;

// Porcentagem Combustível
extern float combustivel;

// Porcentagem Pneu Dianteiro Direito
extern float pneu_dd;

// Porcentagem Pneu Dianteiro Esquerdo
extern float pneu_de;

// Porcentagem Pneu Traseiro Direito
extern float pneu_td;

// Porcentagem Pneu Traseiro Esquerdo
extern float pneu_te;

// Porcentagem sinal
extern float sinal;

// Velocidade em m/s
extern int velocidade;

#endif // !GLOBALS_H
```

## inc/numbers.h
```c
/*
 * numbers.h
 *
 *  Created on: Jan 23, 2020
 *      Author: osedro
 */

#ifndef INC_NUMBERS_H_
#define INC_NUMBERS_H_

void numero_1(int x);

void numero_2(int x);

void numero_3(int x); //para usar na casa da unidade aumentar em x 28, x = 40 para a dezena

void numero_4(int x);

void numero_5(int x);

void numero_6(int x);

void numero_7(int x);

void numero_8(int x); //  para usar na casa da unidade aumentar em x 28, x = 40 para a dezena

void numero_9(int x);

void numero_0(int x); // para usar na casa da unidade aumentar em x 28, x = 40 para a dezena

#endif /* INC_NUMBERS_H_ */
```

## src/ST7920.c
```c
#include "zephyr/kernel.h"
#include <ST7920.h>
#include <zephyr/drivers/gpio.h>
#include <zephyr/logging/log.h>

LOG_MODULE_REGISTER(st7920);

const struct gpio_dt_spec *rst =
    &(const struct gpio_dt_spec)GPIO_DT_SPEC_GET_BY_IDX(DT_PATH(zephyr_user),
                                                        st7920_gpios, 0);
const struct gpio_dt_spec *sid =
    &(const struct gpio_dt_spec)GPIO_DT_SPEC_GET_BY_IDX(DT_PATH(zephyr_user),
                                                        st7920_gpios, 1);
const struct gpio_dt_spec *cs =
    &(const struct gpio_dt_spec)GPIO_DT_SPEC_GET_BY_IDX(DT_PATH(zephyr_user),
                                                        st7920_gpios, 2);
const struct gpio_dt_spec *sclk =
    &(const struct gpio_dt_spec)GPIO_DT_SPEC_GET_BY_IDX(DT_PATH(zephyr_user),
                                                        st7920_gpios, 3);

volatile uint8_t image[(128 * 64) / 8] = {0};
volatile uint8_t image_old[(128 * 64) / 8] = {0};

uint8_t startRow, startCol, endRow,
    endCol; // coordinates of the dirty rectangle
uint8_t numRows = 64;
uint8_t numCols = 128;
uint8_t Graphic_Check = 0;

void SendByteSPI(uint8_t byte) {
  for (int i = 0; i < 8; i++) {
    if ((byte << i) & 0x80) {
      gpio_pin_set_dt(sid, 1);
    }

    else
      gpio_pin_set_dt(sid, 0);

    gpio_pin_set_dt(sclk, 0);
    gpio_pin_set_dt(sclk, 1);
  }
}

void ST7920_SendCmd(uint8_t cmd) {
  gpio_pin_set_dt(cs, 1);

  SendByteSPI(0xf8 + (0 << 1));   // send the SYNC + RS(0)
  SendByteSPI(cmd & 0xf0);        // send the higher nibble first
  SendByteSPI((cmd << 4) & 0xf0); // send the lower nibble
  k_sleep(K_USEC(50));

  gpio_pin_set_dt(cs, 0);
}

void ST7920_SendData(uint8_t data) {
  gpio_pin_set_dt(cs, 1);

  SendByteSPI(0xf8 + (1 << 1));    // send the SYNC + RS(1)
  SendByteSPI(data & 0xf0);        // send the higher nibble first
  SendByteSPI((data << 4) & 0xf0); // send the lower nibble
  k_sleep(K_USEC(50));
  gpio_pin_set_dt(cs, 0);
}

void ST7920_SendString(int row, int col, char *string) {
  LOG_INF("Enviando String %s", string);
  switch (row) {
  case 0:
    col |= 0x80;
    break;
  case 1:
    col |= 0x90;
    break;
  case 2:
    col |= 0x88;
    break;
  case 3:
    col |= 0x98;
    break;
  default:
    col |= 0x80;
    break;
  }

  ST7920_SendCmd(col);

  while (*string) {
    ST7920_SendData(*string++);
  }
}

void ST7920_GraphicMode(int enable) // 1-enable, 0-disable
{
  if (enable == 1) {
    LOG_INF("Entrando no GraphicMode");
    ST7920_SendCmd(0x30); // 8 bit mode
    k_msleep(1);
    ST7920_SendCmd(0x34); // switch to Extended instructions
    k_msleep(1);
    ST7920_SendCmd(0x36); // enable graphics
    k_msleep(1);
    Graphic_Check = 1; // update the variable
  }

  else if (enable == 0) {
    LOG_INF("Saindo do GraphicMode");
    ST7920_SendCmd(0x30); // 8 bit mode
    k_msleep(1);
    Graphic_Check = 0; // update the variable
  }
}

void ST7920_DrawBitmap(const unsigned char *graphic) {
  LOG_INF("Desenhando Bitmap");
  if (graphic != image) {
    memcpy(image, graphic, 1024);
  }
  uint8_t x, y;
  for (y = 0; y < 64; y++) {

    if (y < 32) {
      for (x = 0; x < 8; x++) // Draws top half of the screen.
      { // In extended instruction mode, vertical and horizontal coordinates
        // must be specified before sending data in.
        ST7920_SendCmd(
            0x80 |
            y); // Vertical coordinate of the screen is specified first. (0-31)
        ST7920_SendCmd(
            0x80 |
            x); // Then horizontal coordinate of the screen is specified. (0-8)
        ST7920_SendData(graphic[2 * x + 16 * y]); // Data to the upper byte is
                                                  // sent to the coordinate.
        ST7920_SendData(
            graphic[2 * x + 1 + 16 * y]); // Data to the lower byte is sent to
                                          // the coordinate.
      }
    } else {
      for (x = 0; x < 8; x++) // Draws bottom half of the screen.
      { // Actions performed as same as the upper half screen.
        ST7920_SendCmd(
            0x80 |
            (y - 32)); // Vertical coordinate must be scaled back to 0-31 as it
                       // is dealing with another half of the screen.
        ST7920_SendCmd(0x88 | x);
        ST7920_SendData(graphic[2 * x + 16 * y]);
        ST7920_SendData(graphic[2 * x + 1 + 16 * y]);
      }
    }
  }
  memcpy(image_old, graphic, 1024);
}

void ST7920_Update(void) {
  LOG_INF("Atualizando...");
  ST7920_DrawBitmap(image);
}

void ST7920_Clear() {
  LOG_INF("Clearing...");
  if (Graphic_Check == 1) // if the graphic mode is set
  {
    uint8_t x, y;
    for (y = 0; y < 64; y++) {
      if (y < 32) {
        ST7920_SendCmd(0x80 | y);
        ST7920_SendCmd(0x80);
      } else {
        ST7920_SendCmd(0x80 | (y - 32));
        ST7920_SendCmd(0x88);
      }
      for (x = 0; x < 8; x++) {
        ST7920_SendData(0);
        ST7920_SendData(0);
      }
    }
  }

  else {
    ST7920_SendCmd(0x01); // clear the display using command
    k_msleep(2);          // delay >1.6 ms
  }

  memset(image, 0, 1024);
}

int ST7920_Init(void) {
  LOG_INF("Inicializando...");

  // Inicializando GPIO
  struct gpio_dt_spec *pinos[] = {rst, sid, cs, sclk};

  int err;

  for (int i = 0; i < 4; i++) {

    err = device_is_ready(pinos[i]->port);
    if (err < 0) {
      LOG_ERR("A porta %s não está pronta (%d)", pinos[i]->port->name, err);
      return err;
    }
  }

  for (int i = 0; i < 4; i++) {
    err = gpio_pin_configure_dt(pinos[i], GPIO_OUTPUT_HIGH);
    if (err < 0) {
      LOG_ERR("Não foi possível configurar o pino {%s %d} como output (%d)",
              pinos[i]->port->name, pinos[i]->pin, err);
      return err;
    }
  }

  // Inicializando painel
  gpio_pin_set_dt(rst, 0);
  k_msleep(10);
  gpio_pin_set_dt(rst, 1);

  k_msleep(50);

  ST7920_SendCmd(0x30); // 8bit mode
  k_sleep(K_USEC(110));

  ST7920_SendCmd(0x30); // 8bit mode
  k_sleep(K_USEC(40));

  ST7920_SendCmd(0x08); // D=0, C=0, B=0
  k_sleep(K_USEC(110));

  ST7920_SendCmd(0x01); // clear screen
  k_sleep(K_USEC(12));

  ST7920_SendCmd(0x06); // cursor increment right no shift
  k_msleep(1);

  ST7920_SendCmd(0x0C); // D=1, C=0, B=0
  k_msleep(1);

  ST7920_SendCmd(0x02); // return to home
  k_msleep(1);
  return 0;
}

void SetPixel(uint8_t x, uint8_t y) {
  if (y < numRows && x < numCols) {
    uint8_t *p = image + ((y * (numCols / 8)) + (x / 8));
    *p |= 0x80u >> (x % 8);

    *image = *p;

    // Change the dirty rectangle to account for a pixel being dirty (we assume
    // it was changed)
    if (startRow > y) {
      startRow = y;
    }
    if (endRow <= y) {
      endRow = y + 1;
    }
    if (startCol > x) {
      startCol = x;
    }
    if (endCol <= x) {
      endCol = x + 1;
    }
  }
}

void DrawLine(uint8_t x0, uint8_t y0, uint8_t x1, uint8_t y1) {
  int dx = (x1 >= x0) ? x1 - x0 : x0 - x1;
  int dy = (y1 >= y0) ? y1 - y0 : y0 - y1;
  int sx = (x0 < x1) ? 1 : -1;
  int sy = (y0 < y1) ? 1 : -1;
  int err = dx - dy;

  for (;;) {
    SetPixel(x0, y0);
    if (x0 == x1 && y0 == y1)
      break;
    int e2 = err + err;
    if (e2 > -dy) {
      err -= dy;
      x0 += sx;
    }
    if (e2 < dx) {
      err += dx;
      y0 += sy;
    }
  }
}

void DrawRectangle(uint16_t x, uint16_t y, uint16_t w, uint16_t h) {
  /* Check input parameters */
  if (x >= numCols || y >= numRows) {
    /* Return error */
    return;
  }

  /* Check width and height */
  if ((x + w) >= numCols) {
    w = numCols - x;
  }
  if ((y + h) >= numRows) {
    h = numRows - y;
  }

  /* Draw 4 lines */
  DrawLine(x, y, x + w, y);         /* Top line */
  DrawLine(x, y + h, x + w, y + h); /* Bottom line */
  DrawLine(x, y, x, y + h);         /* Left line */
  DrawLine(x + w, y, x + w, y + h); /* Right line */
}

void DrawFilledRectangle(uint16_t x, uint16_t y, uint16_t w, uint16_t h) {
  uint8_t i;

  /* Check input parameters */
  if (x >= numCols || y >= numRows) {
    /* Return error */
    return;
  }

  /* Check width and height */
  if ((x + w) >= numCols) {
    w = numCols - x;
  }
  if ((y + h) >= numRows) {
    h = numRows - y;
  }

  /* Draw lines */
  for (i = 0; i <= h; i++) {
    /* Draw lines */
    DrawLine(x, y + i, x + w, y + i);
  }
}

void DrawCircle(uint8_t x0, uint8_t y0, uint8_t radius) {
  int f = 1 - (int)radius;
  int ddF_x = 1;

  int ddF_y = -2 * (int)radius;
  int x = 0;

  SetPixel(x0, y0 + radius);
  SetPixel(x0, y0 - radius);
  SetPixel(x0 + radius, y0);
  SetPixel(x0 - radius, y0);

  int y = radius;
  while (x < y) {
    if (f >= 0) {
      y--;
      ddF_y += 2;
      f += ddF_y;
    }
    x++;
    ddF_x += 2;
    f += ddF_x;
    SetPixel(x0 + x, y0 + y);
    SetPixel(x0 - x, y0 + y);
    SetPixel(x0 + x, y0 - y);
    SetPixel(x0 - x, y0 - y);
    SetPixel(x0 + y, y0 + x);
    SetPixel(x0 - y, y0 + x);
    SetPixel(x0 + y, y0 - x);
    SetPixel(x0 - y, y0 - x);
  }
}

// Draw Filled Circle

void DrawFilledCircle(int16_t x0, int16_t y0, int16_t r) {
  int16_t f = 1 - r;
  int16_t ddF_x = 1;
  int16_t ddF_y = -2 * r;
  int16_t x = 0;
  int16_t y = r;

  SetPixel(x0, y0 + r);
  SetPixel(x0, y0 - r);
  SetPixel(x0 + r, y0);
  SetPixel(x0 - r, y0);
  DrawLine(x0 - r, y0, x0 + r, y0);

  while (x < y) {
    if (f >= 0) {
      y--;
      ddF_y += 2;
      f += ddF_y;
    }
    x++;
    ddF_x += 2;
    f += ddF_x;

    DrawLine(x0 - x, y0 + y, x0 + x, y0 + y);
    DrawLine(x0 + x, y0 - y, x0 - x, y0 - y);

    DrawLine(x0 + y, y0 + x, x0 - y, y0 + x);
    DrawLine(x0 + y, y0 - x, x0 - y, y0 - x);
  }
}

// Draw Traingle with coordimates (x1, y1), (x2, y2), (x3, y3)
void DrawTriangle(uint16_t x1, uint16_t y1, uint16_t x2, uint16_t y2,
                  uint16_t x3, uint16_t y3) {
  /* Draw lines */
  DrawLine(x1, y1, x2, y2);
  DrawLine(x2, y2, x3, y3);
  DrawLine(x3, y3, x1, y1);
}

// Draw Filled Traingle with coordimates (x1, y1), (x2, y2), (x3, y3)
void DrawFilledTriangle(uint16_t x1, uint16_t y1, uint16_t x2, uint16_t y2,
                        uint16_t x3, uint16_t y3) {
  int16_t deltax = 0, deltay = 0, x = 0, y = 0, xinc1 = 0, xinc2 = 0, yinc1 = 0,
          yinc2 = 0, den = 0, num = 0, numadd = 0, numpixels = 0, curpixel = 0;

#define ABS(x) ((x) > 0 ? (x) : -(x))

  deltax = ABS(x2 - x1);
  deltay = ABS(y2 - y1);
  x = x1;
  y = y1;

  if (x2 >= x1) {
    xinc1 = 1;
    xinc2 = 1;
  } else {
    xinc1 = -1;
    xinc2 = -1;
  }

  if (y2 >= y1) {
    yinc1 = 1;
    yinc2 = 1;
  } else {
    yinc1 = -1;
    yinc2 = -1;
  }

  if (deltax >= deltay) {
    xinc1 = 0;
    yinc2 = 0;
    den = deltax;
    num = deltax / 2;
    numadd = deltay;
    numpixels = deltax;
  } else {
    xinc2 = 0;
    yinc1 = 0;
    den = deltay;
    num = deltay / 2;
    numadd = deltax;
    numpixels = deltay;
  }

  for (curpixel = 0; curpixel <= numpixels; curpixel++) {
    DrawLine(x, y, x3, y3);

    num += numadd;
    if (num >= den) {
      num -= den;
      x += xinc1;
      y += yinc1;
    }
    x += xinc2;
    y += yinc2;
  }
}
```

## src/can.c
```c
#include "can.h"
#include <globals.h>

/*
 * É necessário rodar Init_CAN() e em um loop while rodar CAN_Tick()
 */

LOG_MODULE_REGISTER(can);
const struct device *const can_dev = DEVICE_DT_GET(DT_ALIAS(mycan));

struct can_frame botao_frame = {
    .flags = 0, .id = 0xb, .dlc = 8, .data = {1, 2, 3, 4, 5, 6, 7, 8}};
int send_kill_switch(bool piloto, bool kill){
  botao_frame.data[0] = piloto;
  botao_frame.data[1] = kill;
  int ret =  can_send(can_dev, &botao_frame, K_MSEC(100), NULL, NULL);

  if (ret != 0) {
    LOG_ERR("Enviar botao_frame falhou (%d)", ret);
    return ret;
  }
  return 0;
}

struct can_frame velocimetro_frame = {
    .flags = 0, .id = 0xc, .dlc = 8, .data = {1, 2, 3, 4, 5, 6, 7, 8}};


struct can_timing timing;

bool mensagem_recebida = false;
static void rx_callback_function(const struct device *dev,
                                 struct can_frame *frame, void *user_data)
{

  if (frame == NULL)
  {
    LOG_ERR("Null frame recebido");
    return;
  }

  if (mensagem_recebida)
  {
    LOG_ERR("Já estamos lidando com uma mensagem, ignorando esta");
  }
  // Tensão da Bateria

  if (frame->id == 0x04 /*Volts*/)
  {
    bateria = (frame->data_32[0] / CONFIG_BATERIA_MAX) * 100;
  }
  // ENND Tensão da Bateria
  //  TPMS
  if (frame->id == 0x07 /* DE, DD*/)
  {
    pneu_de = (frame->data_32[0] / CONFIG_PRESSAO_MAX) * 100;
    pneu_dd = (frame->data_32[1] / CONFIG_PRESSAO_MAX) * 100;
  }
  if (frame->id == 0x08 /* TE, TD*/)
  {
    pneu_te = (frame->data_32[0] / CONFIG_PRESSAO_MAX) * 100;
    pneu_td = (frame->data_32[1] / CONFIG_PRESSAO_MAX) * 100;
  }
  // END TPMS

  mensagem_recebida = true;

  LOG_INF("Recebi a mensagem %d do id %d", frame->data[0], frame->id);
}

// Aceitando todos os CAN
const struct can_filter my_filter = {
    .flags = 0U, .id = 0x000, .mask = CAN_STD_ID_MASK};
int filter_id;

int Init_CAN()
{
  int ret;
  LOG_INF("Inicializando");

  ret = can_set_mode(can_dev, CAN_MODE_NORMAL);
  if (ret != 0)
  {
    printf("Error setting CAN mode [%d]", ret);
    return 0;
  }

  ret = can_set_bitrate(can_dev, 125000);
  if (ret != 0)
  {
    LOG_ERR("Failed to set timing (%d)", ret);
  }

  ret = can_start(can_dev);
  if (ret != 0)
  {
    printf("Error starting CAN controller [%d]", ret);
    return 0;
  }
  filter_id =
      can_add_rx_filter(can_dev, rx_callback_function, NULL, &my_filter);
  if (filter_id < 0)
  {
    LOG_ERR("Unable to add rx filter [%d]", filter_id);
  }

  return 0;
}
```

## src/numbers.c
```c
/*
 * numbers.c
 *
 *  Created on: Jan 23, 2020
 *      Author: osedro
 */


#include "numbers.h"
#include "ST7920.h"

void numero_1(int x)
{
	DrawFilledRectangle(x, 8, 3,42);
}
void numero_2(int x){
	DrawFilledRectangle(x, 8, 20,2);
	DrawFilledRectangle(x + 20, 8, 3,22);
	DrawFilledRectangle(x, 28, 20,2);
	DrawFilledRectangle(x, 28 ,3,20);
	DrawFilledRectangle(x, 48, 23,2);
}
void numero_3(int x){
	DrawFilledRectangle(x, 8, 20,2);
	DrawFilledRectangle(x + 20, 8, 3,42);
	DrawFilledRectangle(x, 48, 20,2);
	DrawFilledRectangle(x, 28, 20,2);

}
void numero_4(int x){
	  DrawFilledRectangle(x, 8 ,3,20);
	  DrawFilledRectangle(x + 20, 8, 3,42);
	  DrawFilledRectangle(x, 28, 20,2);
}
void numero_5(int x){
	DrawFilledRectangle(x, 8, 23,2);
	DrawFilledRectangle(x + 20, 28, 3,22);
	DrawFilledRectangle(x, 28, 20,2);
	DrawFilledRectangle(x, 10,3,20);
	DrawFilledRectangle(x, 48, 20,2);
}
void numero_6(int x){
	DrawFilledRectangle(x, 8, 23,2);
	DrawFilledRectangle(x, 10 ,3,40);
	DrawFilledRectangle(x, 28, 20,2);
	DrawFilledRectangle(x, 48, 20,2);
	DrawFilledRectangle(x + 20, 28, 3,22);
}
void numero_7(int x){
	DrawFilledRectangle(x, 8, 20,2);
	DrawFilledRectangle(x + 20, 8, 3,42);
}
void numero_8(int x)
{
	  DrawFilledRectangle(x, 10 ,3,40);
	  DrawFilledRectangle(x, 8, 20,2);
	  DrawFilledRectangle(x + 20, 8, 3,42);
	  DrawFilledRectangle(x, 28, 20,2);
	  DrawFilledRectangle(x, 48, 20,2);
}
void numero_9(int x){
	 DrawFilledRectangle(x, 10 ,3,20);
	 DrawFilledRectangle(x, 8, 20,2);
	 DrawFilledRectangle(x + 20, 8, 3,42);
	 DrawFilledRectangle(x, 28, 20,2);
	 DrawFilledRectangle(x, 48, 20,2);
}
void numero_0(int x){
	DrawFilledRectangle(x, 10, 3,40);
    DrawFilledRectangle(x, 8, 20,2);
    DrawFilledRectangle(x + 20, 8, 3,42);
    DrawFilledRectangle(x, 48, 20,2);

}
```
